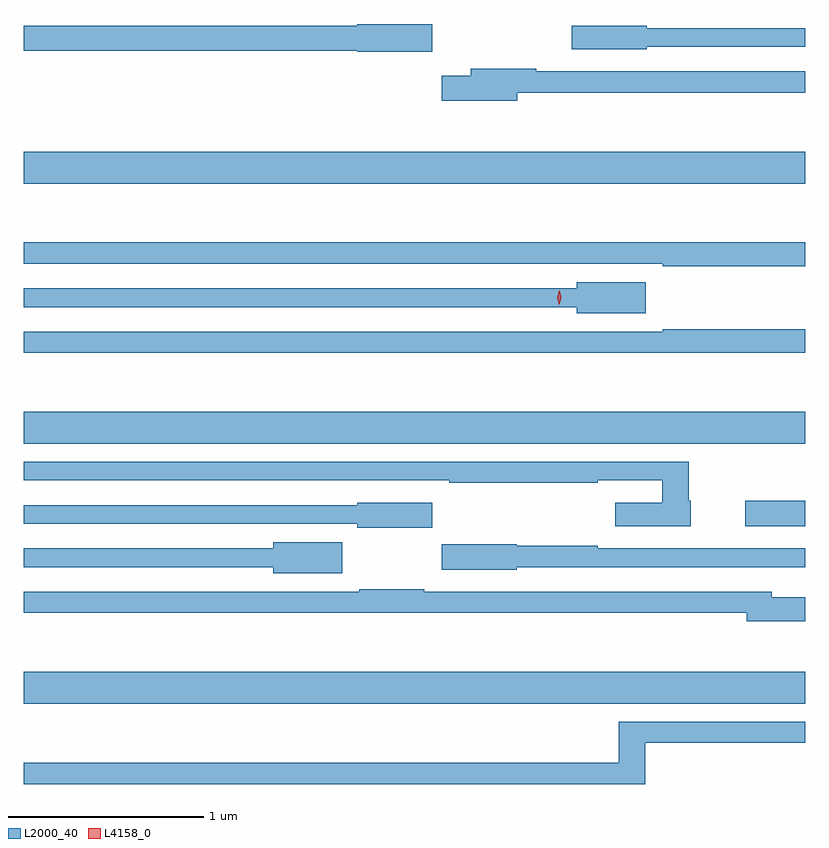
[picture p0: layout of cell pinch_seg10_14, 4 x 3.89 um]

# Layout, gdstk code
import gdstk
lib = gdstk.Library(unit=1e-6, precision=1e-09)
def R(c, l, rs):  # rectangles x0, y0, x1, y1
    for r in rs: c.add(gdstk.rectangle(r[:2], r[2:], *l))
def A(c, l, x, y, w, h, nx, ny, dx, dy):  # array of equal rectangles
    R(c, l, [(x+i*dx, y+j*dy, x+i*dx+w, y+j*dy+h) for i in range(nx) for j in range(ny)])
def P(c, l, *ps):  # polygons
    for p in ps: c.add(gdstk.Polygon(p, *l))
L2000_40 = (2000, 40)
L4158_0 = (4158, 0)

pinch_seg10_14 = lib.new_cell('pinch_seg10_14')
A(pinch_seg10_14, L2000_40, 984.153, 1268.348, 4, 0.164, 1, 3, 0, 1.332)
R(pinch_seg10_14, L2000_40, [(987.846,1269.257,988.153,1269.387)])
P(pinch_seg10_14, L2000_40, [(986.245,1271.829),(985.86,1271.829),(985.86,1271.821),(984.153,1271.821),(984.153,1271.692),(985.86,1271.692),(985.86,1271.687),(986.245,1271.687)],
  [(987.342,1271.712),(988.153,1271.712),(988.153,1271.808),(987.342,1271.808),(987.342,1271.821),(986.958,1271.821),(986.958,1271.699),(987.342,1271.699)],
  [(986.68,1271.478),(988.153,1271.478),(988.153,1271.586),(986.776,1271.586),(986.776,1271.599),(986.441,1271.599),(986.441,1271.565),(986.292,1271.565),(986.292,1271.435),(986.68,1271.435)],
  [(988.153,1270.711),(984.153,1270.711),(984.153,1270.602),(987.424,1270.602),(987.424,1270.59),(988.153,1270.59)],
  [(987.337,1270.507),(986.984,1270.507),(986.984,1270.476),(984.153,1270.476),(984.153,1270.38),(986.984,1270.38),(986.984,1270.349),(987.337,1270.349)],
  [(988.153,1270.267),(987.424,1270.267),(987.424,1270.254),(984.153,1270.254),(984.153,1270.146),(988.153,1270.146)],
  [(987.568,1269.387),(987.557,1269.387),(987.557,1269.588),(984.153,1269.588),(984.153,1269.492),(986.332,1269.492),(986.332,1269.48),(987.092,1269.48),(987.092,1269.492),(987.421,1269.492),(987.421,1269.379),(987.18,1269.379),(987.18,1269.257),(987.568,1269.257)],
  [(986.245,1269.379),(985.86,1269.379),(985.86,1269.366),(984.153,1269.366),(984.153,1269.27),(985.86,1269.27),(985.86,1269.25),(986.245,1269.25)],
  [(985.783,1269.175),(985.43,1269.175),(985.43,1269.144),(984.153,1269.144),(984.153,1269.048),(985.43,1269.048),(985.43,1269.017),(985.783,1269.017)],
  [(986.676,1269.048),(988.078,1269.048),(988.078,1269.047),(988.153,1269.047),(988.153,1269.144),(987.092,1269.144),(987.092,1269.157),(986.676,1269.157),(986.676,1269.165),(986.292,1269.165),(986.292,1269.035),(986.676,1269.035)],
  [(988.153,1268.893),(987.982,1268.893),(987.982,1268.922),(986.204,1268.922),(986.204,1268.935),(985.87,1268.935),(985.87,1268.922),(984.153,1268.922),(984.153,1268.814),(987.854,1268.814),(987.854,1268.771),(988.153,1268.771)],
  [(987.335,1268.148),(988.153,1268.148),(988.153,1268.256),(987.199,1268.256),(987.199,1268.047),(984.153,1268.047),(984.153,1267.938),(987.335,1267.938)])
P(pinch_seg10_14, L4158_0, [(986.895,1270.392),(986.895,1270.392),(986.885,1270.428),(986.895,1270.464),(986.896,1270.464),(986.896,1270.464),(986.905,1270.428),(986.895,1270.392)])

lib.write_gds('pinch_seg10_14.gds')
